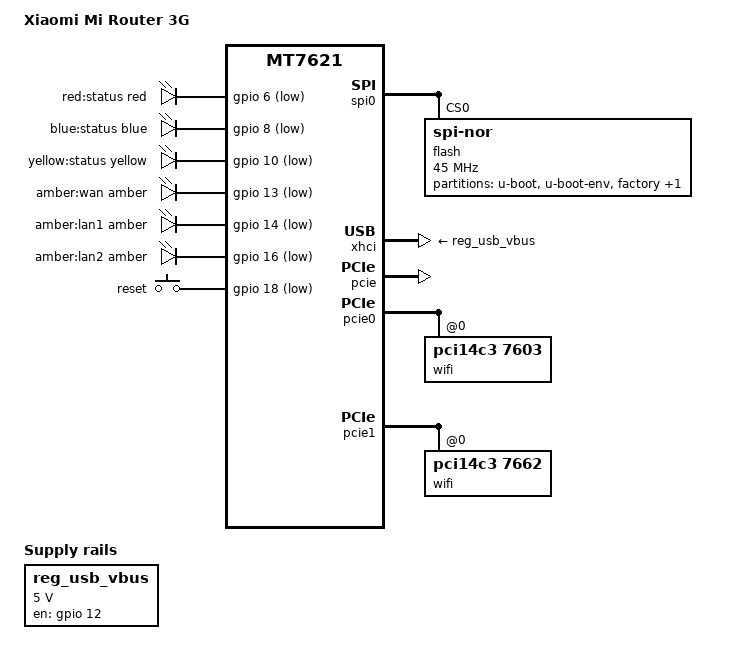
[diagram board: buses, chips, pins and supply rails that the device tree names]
// SPDX-License-Identifier: GPL-2.0-or-later OR MIT

#include "mt7621.dtsi"

#include <dt-bindings/gpio/gpio.h>
#include <dt-bindings/input/input.h>
#include <dt-bindings/leds/common.h>

/ {
	compatible = "xiaomi,mi-router-3g", "mediatek,mt7621-soc";
	model = "Xiaomi Mi Router 3G";

	chosen {
		bootargs = "console=ttyS0,115200";
	};

	aliases {
		led-boot = &led_status_yellow;
		led-failsafe = &led_status_red;
		led-running = &led_status_blue;
		led-upgrade = &led_status_yellow;
		label-mac-device = &gmac0;
	};

	leds {
		compatible = "gpio-leds";

		led_status_red: led-0 {
			label = "red:status";
			color = <LED_COLOR_ID_RED>;
			function = LED_FUNCTION_STATUS;
			gpios = <&gpio 6 GPIO_ACTIVE_LOW>;
		};

		led_status_blue: led-1 {
			label = "blue:status";
			color = <LED_COLOR_ID_BLUE>;
			function = LED_FUNCTION_STATUS;
			gpios = <&gpio 8 GPIO_ACTIVE_LOW>;
		};

		led_status_yellow: led-2 {
			label = "yellow:status";
			color = <LED_COLOR_ID_YELLOW>;
			function = LED_FUNCTION_STATUS;
			gpios = <&gpio 10 GPIO_ACTIVE_LOW>;
		};

		led-3 {
			label = "amber:wan";
			color = <LED_COLOR_ID_AMBER>;
			function = LED_FUNCTION_WAN;
			gpios = <&gpio 13 GPIO_ACTIVE_LOW>;
			linux,default-trigger = "mt7530-0:01:1Gbps";
		};

		led-4 {
			label = "amber:lan1";
			color = <LED_COLOR_ID_AMBER>;
			function = LED_FUNCTION_LAN;
			function-enumerator = <1>;
			gpios = <&gpio 14 GPIO_ACTIVE_LOW>;
			linux,default-trigger = "mt7530-0:03:1Gbps";
		};

		led-5 {
			label = "amber:lan2";
			color = <LED_COLOR_ID_AMBER>;
			function = LED_FUNCTION_LAN;
			function-enumerator = <2>;
			gpios = <&gpio 16 GPIO_ACTIVE_LOW>;
			linux,default-trigger = "mt7530-0:02:1Gbps";
		};
	};

	keys {
		compatible = "gpio-keys";

		reset {
			label = "reset";
			gpios = <&gpio 18 GPIO_ACTIVE_LOW>;
			linux,code = <KEY_RESTART>;
		};
	};

	reg_usb_vbus: regulator {
		compatible = "regulator-fixed";
		regulator-name = "usb_vbus";
		regulator-min-microvolt = <5000000>;
		regulator-max-microvolt = <5000000>;
		gpio = <&gpio 12 GPIO_ACTIVE_HIGH>;
		enable-active-high;
	};
};

&spi0 {
	status = "okay";

	flash@0 {
		compatible = "jedec,spi-nor";
		reg = <0>;
		spi-max-frequency = <45000000>;
		broken-flash-reset;

		partitions {
			compatible = "fixed-partitions";
			#address-cells = <1>;
			#size-cells = <1>;

			partition@0 {
				label = "u-boot";
				reg = <0x000000 0x030000>;
				read-only;
			};

			partition@30000 {
				label = "u-boot-env";
				reg = <0x030000 0x010000>;
				read-only;
			};

			factory: partition@40000 {
				label = "factory";
				reg = <0x040000 0x010000>;
				read-only;

				nvmem-layout {
					compatible = "fixed-layout";
					#address-cells = <1>;
					#size-cells = <1>;

					macaddr_factory_e000: macaddr@e000 {
						reg = <0xe000 0x6>;
					};

					macaddr_factory_e006: macaddr@e006 {
						reg = <0xe006 0x6>;
					};
				};
			};

			partition@50000 {
				compatible = "denx,uimage";
				label = "firmware";
				reg = <0x050000 0xfb0000>;
			};
		};
	};
};

&xhci {
	vbus-supply = <&reg_usb_vbus>;
};

&pcie {
	status = "okay";
};

&pcie0 {
	wifi@0,0 {
		compatible = "pci14c3,7603";
		reg = <0x0000 0 0 0 0>;
		mediatek,mtd-eeprom = <&factory 0x0000>;
		ieee80211-freq-limit = <2400000 2500000>;
	};
};

&pcie1 {
	wifi@0,0 {
		compatible = "pci14c3,7662";
		reg = <0x0000 0 0 0 0>;
		mediatek,mtd-eeprom = <&factory 0x8000>;
		ieee80211-freq-limit = <5000000 6000000>;
	};
};

&gmac0 {
	nvmem-cells = <&macaddr_factory_e006>;
	nvmem-cell-names = "mac-address";
};

&gsw {
	port@1 {
		reg = <1>;
		status = "okay";
		label = "wan";
		nvmem-cells = <&macaddr_factory_e000>;
		nvmem-cell-names = "mac-address";
	};

	port@2 {
		reg = <2>;
		status = "okay";
		label = "lan2";
	};

	port@3 {
		reg = <3>;
		status = "okay";
		label = "lan1";
	};
};

&state_default {
	gpio {
		groups = "jtag", "uart2", "uart3", "wdt";
		function = "gpio";
	};
};
